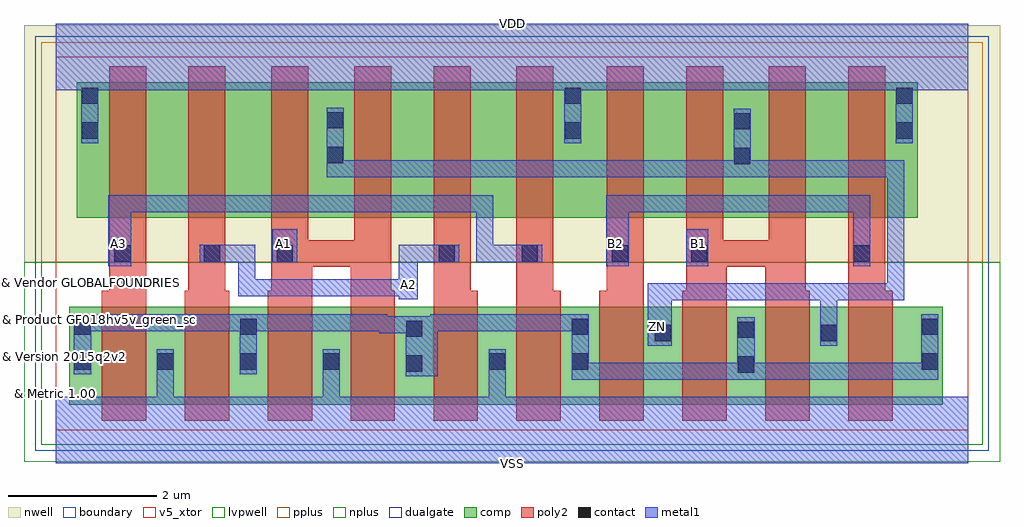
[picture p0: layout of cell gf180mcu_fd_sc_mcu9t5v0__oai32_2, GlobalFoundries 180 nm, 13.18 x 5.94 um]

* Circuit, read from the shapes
.subckt gf180mcu_fd_sc_mcu9t5v0__oai32_2 A1 A2 A3 B1 B2 VDD VSS ZN
XM1 VSS A3 n1 VSUBS nfet_05v0 w=1.32u l=0.6u m=2
XM2 n1 A2 VSS VSUBS nfet_05v0 w=1.32u l=0.6u m=2
XM3 VSS A1 n1 VSUBS nfet_05v0 w=1.32u l=0.6u m=2
XM4 ZN B2 n1 VSUBS nfet_05v0 w=1.32u l=0.6u m=2
XM5 n1 B1 ZN VSUBS nfet_05v0 w=1.32u l=0.6u m=2
XM6 n2 A3 VDD n3 pfet_05v0 w=1.83u l=0.5u
XM7 n4 A2 n2 n3 pfet_05v0 w=1.83u l=0.5u
XM8 ZN A1 n4 n3 pfet_05v0 w=1.83u l=0.5u
XM9 n5 A1 ZN n3 pfet_05v0 w=1.83u l=0.5u
XM10 n6 A2 n5 n3 pfet_05v0 w=1.83u l=0.5u
XM11 VDD A3 n6 n3 pfet_05v0 w=1.83u l=0.5u
XM12 n7 B2 VDD n3 pfet_05v0 w=1.83u l=0.5u
XM13 ZN B1 n7 n3 pfet_05v0 w=1.83u l=0.5u
XM14 n8 B1 ZN n3 pfet_05v0 w=1.83u l=0.5u
XM15 VDD B2 n8 n3 pfet_05v0 w=1.83u l=0.5u
.ends

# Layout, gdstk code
import gdstk
lib = gdstk.Library(unit=1e-6, precision=1e-09)
def R(c, l, rs):  # rectangles x0, y0, x1, y1
    for r in rs: c.add(gdstk.rectangle(r[:2], r[2:], *l))
def A(c, l, x, y, w, h, nx, ny, dx, dy):  # array of equal rectangles
    R(c, l, [(x+i*dx, y+j*dy, x+i*dx+w, y+j*dy+h) for i in range(nx) for j in range(ny)])
def P(c, l, *ps):  # polygons
    for p in ps: c.add(gdstk.Polygon(p, *l))
boundary = (0, 0)
nwell = (21, 0)
comp = (22, 0)
poly2 = (30, 0)
pplus = (31, 0)
nplus = (32, 0)
contact = (33, 0)
metal1 = (34, 0)
dualgate = (55, 0)
v5_xtor = (112, 1)
lvpwell = (204, 0)

gf180mcu_fd_sc_mcu9t5v0_ = lib.new_cell('gf180mcu_fd_sc_mcu9t5v0__oai32_2')
R(gf180mcu_fd_sc_mcu9t5v0_, boundary, [(0,0,12.32,5.04)])
R(gf180mcu_fd_sc_mcu9t5v0_, nwell, [(-0.43,2.265,12.75,5.47)])
R(gf180mcu_fd_sc_mcu9t5v0_, comp, [(0.18,0.345,11.98,1.665), (0.28,2.865,11.64,4.695)])
P(gf180mcu_fd_sc_mcu9t5v0_, poly2, [(0.62,0.125),(0.62,1.885),(0.72,1.885),(0.72,4.915),(1.22,4.915),(1.22,0.125)],
  [(1.74,0.125),(1.74,1.885),(1.79,1.885),(1.79,4.915),(2.29,4.915),(2.29,1.885),(2.34,1.885),(2.34,0.125)],
  [(2.86,0.125),(2.86,1.885),(2.91,1.885),(2.91,4.915),(3.41,4.915),(3.41,2.565),(4.03,2.565),(4.03,4.915),(4.53,4.915),(4.53,1.885),(4.58,1.885),(4.58,0.125),(3.98,0.125),(3.98,2.205),(3.46,2.205),(3.46,0.125)],
  [(5.1,0.125),(5.1,4.915),(5.6,4.915),(5.6,1.885),(5.7,1.885),(5.7,0.125)],
  [(6.22,0.125),(6.22,4.915),(6.72,4.915),(6.72,1.885),(6.82,1.885),(6.82,0.125)],
  [(7.34,0.125),(7.34,1.885),(7.44,1.885),(7.44,4.915),(7.94,4.915),(7.94,0.125)],
  [(8.46,0.125),(8.46,1.885),(8.51,1.885),(8.51,4.915),(9.01,4.915),(9.01,2.565),(9.63,2.565),(9.63,4.915),(10.13,4.915),(10.13,1.885),(10.18,1.885),(10.18,0.125),(9.58,0.125),(9.58,2.205),(9.06,2.205),(9.06,0.125)],
  [(10.7,0.125),(10.7,4.915),(11.2,4.915),(11.2,1.885),(11.3,1.885),(11.3,0.125)])
R(gf180mcu_fd_sc_mcu9t5v0_, pplus, [(-0.2,2.265,12.52,5.24)])
R(gf180mcu_fd_sc_mcu9t5v0_, nplus, [(-0.2,-0.2,12.52,2.265)])
A(gf180mcu_fd_sc_mcu9t5v0_, contact, 0.25, 0.815, 0.22, 0.22, 4, 1, 1.12, 0)
R(gf180mcu_fd_sc_mcu9t5v0_, contact, [(9.21,0.775,9.43,0.995), (4.73,0.79,4.95,1.01), (5.85,0.815,6.07,1.035), (6.97,0.815,7.19,1.035), (11.69,0.815,11.91,1.035), (8.09,1.2,8.31,1.42), (10.33,1.2,10.55,1.42), (9.21,1.245,9.43,1.465), (4.73,1.26,4.95,1.48), (0.25,1.285,0.47,1.505), (2.49,1.285,2.71,1.505), (6.97,1.285,7.19,1.505), (11.69,1.285,11.91,1.505), (0.79,2.275,1.01,2.495), (2,2.275,2.22,2.495), (2.98,2.275,3.2,2.495), (5.17,2.275,5.39,2.495), (6.29,2.275,6.51,2.495), (7.51,2.275,7.73,2.495), (8.58,2.275,8.8,2.495), (10.77,2.275,10.99,2.495), (9.16,3.59,9.38,3.81), (3.66,3.605,3.88,3.825), (0.35,3.935,0.57,4.155), (6.87,3.935,7.09,4.155), (11.35,3.935,11.57,4.155), (9.16,4.06,9.38,4.28), (3.66,4.075,3.88,4.295), (0.35,4.405,0.57,4.625), (6.87,4.405,7.09,4.625), (11.35,4.405,11.57,4.625)])
R(gf180mcu_fd_sc_mcu9t5v0_, metal1, [(8.515,2.215,8.81,2.71), (2.92,2.27,3.26,2.71)])
P(gf180mcu_fd_sc_mcu9t5v0_, metal1, [(4.63,1.77),(4.63,1.81),(2.46,1.81),(2.46,2.27),(1.94,2.27),(1.94,2.5),(2.69,2.5),(2.69,2.04),(4.63,2.04),(4.63,2.5),(5.45,2.5),(5.45,2.27),(4.89,2.27),(4.89,1.77)],
  [(0.71,2.215),(0.71,3.17),(5.91,3.17),(5.91,2.5),(6.57,2.5),(6.57,2.27),(5.68,2.27),(5.68,2.94),(1.015,2.94),(1.015,2.215)],
  [(7.43,2.215),(7.43,3.17),(10.995,3.17),(10.995,2.215),(10.765,2.215),(10.765,2.94),(7.735,2.94),(7.735,2.215)],
  [(7.99,1.14),(7.99,1.985),(11.225,1.985),(11.225,3.415),(3.655,3.415),(3.655,4.355),(3.885,4.355),(3.885,3.645),(9.155,3.645),(9.155,4.34),(9.385,4.34),(9.385,3.645),(11.455,3.645),(11.455,1.755),(10.555,1.755),(10.555,1.14),(10.325,1.14),(10.325,1.755),(8.315,1.755),(8.315,1.14)],
  [(6.965,0.68),(6.965,1.335),(5.16,1.335),(5.16,0.73),(4.725,0.73),(4.725,1.31),(4.37,1.31),(4.37,1.335),(2.715,1.335),(2.715,0.755),(2.485,0.755),(2.485,1.335),(0.475,1.335),(0.475,0.755),(0.245,0.755),(0.245,1.565),(4.475,1.565),(4.475,1.54),(5.055,1.54),(5.055,1.565),(7.195,1.565),(7.195,0.91),(9.205,0.91),(9.205,1.525),(9.435,1.525),(9.435,0.91),(11.685,0.91),(11.685,1.565),(11.915,1.565),(11.915,0.68)],
  [(0,-0.45),(0,0.45),(1.365,0.45),(1.365,1.095),(1.595,1.095),(1.595,0.45),(3.605,0.45),(3.605,1.095),(3.835,1.095),(3.835,0.45),(5.845,0.45),(5.845,1.095),(6.075,1.095),(6.075,0.45),(12.32,0.45),(12.32,-0.45)],
  [(0.345,3.875),(0.345,4.59),(0,4.59),(0,5.49),(12.32,5.49),(12.32,4.59),(11.575,4.59),(11.575,3.875),(11.345,3.875),(11.345,4.59),(7.095,4.59),(7.095,3.875),(6.865,3.875),(6.865,4.59),(0.575,4.59),(0.575,3.875)])
R(gf180mcu_fd_sc_mcu9t5v0_, dualgate, [(-0.28,-0.28,12.6,5.32)])
R(gf180mcu_fd_sc_mcu9t5v0_, v5_xtor, [(0,0,12.32,5.04)])
R(gf180mcu_fd_sc_mcu9t5v0_, lvpwell, [(-0.43,-0.43,12.75,2.265)])
gf180mcu_fd_sc_mcu9t5v0_.add(gdstk.Label('A1', (3.08,2.52), layer=34, texttype=10))
gf180mcu_fd_sc_mcu9t5v0_.add(gdstk.Label('A2', (4.76,1.96), layer=34, texttype=10))
gf180mcu_fd_sc_mcu9t5v0_.add(gdstk.Label('A3', (0.84,2.52), layer=34, texttype=10))
gf180mcu_fd_sc_mcu9t5v0_.add(gdstk.Label('B1', (8.68,2.52), layer=34, texttype=10))
gf180mcu_fd_sc_mcu9t5v0_.add(gdstk.Label('B2', (7.56,2.52), layer=34, texttype=10))
gf180mcu_fd_sc_mcu9t5v0_.add(gdstk.Label('VDD', (6.16,5.49), layer=34, texttype=10))
gf180mcu_fd_sc_mcu9t5v0_.add(gdstk.Label('VSS', (6.16,-0.45), layer=34, texttype=10))
gf180mcu_fd_sc_mcu9t5v0_.add(gdstk.Label('ZN', (8.12,1.4), layer=34, texttype=10))
gf180mcu_fd_sc_mcu9t5v0_.add(gdstk.Label('& Vendor GLOBALFOUNDRIES', (0,2), layer=63, texttype=63))
gf180mcu_fd_sc_mcu9t5v0_.add(gdstk.Label('& Product GF018hv5v_green_sc9', (0,1.5), layer=63, texttype=63))
gf180mcu_fd_sc_mcu9t5v0_.add(gdstk.Label('& Version 2015q2v2', (0,1), layer=63, texttype=63))
gf180mcu_fd_sc_mcu9t5v0_.add(gdstk.Label('& Metric 1.00', (0,0.5), layer=63, texttype=63))

lib.write_gds('gf180mcu_fd_sc_mcu9t5v0__oai32_2.gds')
